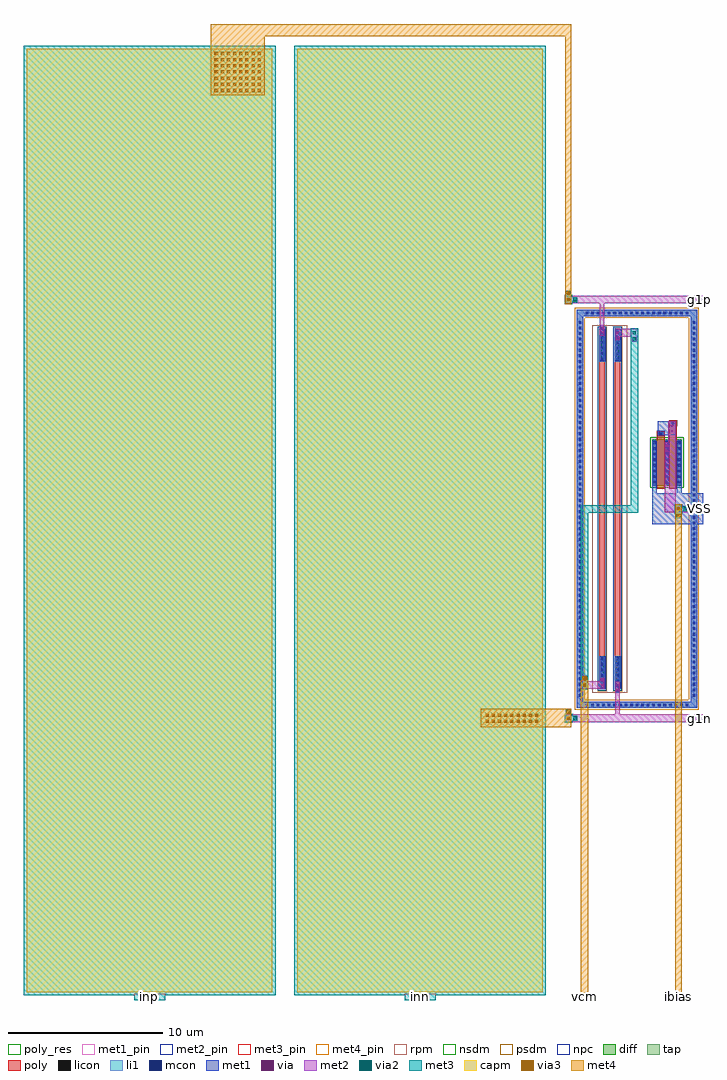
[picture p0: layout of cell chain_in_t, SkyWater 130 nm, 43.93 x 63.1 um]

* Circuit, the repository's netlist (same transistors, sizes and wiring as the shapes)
* chain_in_t: the input section of xschem/lna_chain.sch (Cin, Rb, Mref; values as layout/ref/lna_chain.spice),
* Cin drawn 15.88 x 61 um (chain_in_tall.py)
.subckt chain_in_t inp inn ibias vcm g1p g1n VSS
XMref ibias ibias VSS VSS sky130_fd_pr__nfet_01v8 L=0.5 W=6 nf=2
XCin_p g1p inp sky130_fd_pr__cap_mim_m3_1 W=15.88 L=61
XRb_p g1p vcm VSS sky130_fd_pr__res_high_po_0p35 L=19.1327 mult=1
XCin_n g1n inn sky130_fd_pr__cap_mim_m3_1 W=15.88 L=61
XRb_n g1n vcm VSS sky130_fd_pr__res_high_po_0p35 L=19.1327 mult=1
.ends

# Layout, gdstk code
import gdstk
lib = gdstk.Library(unit=1e-6, precision=1e-09)
def R(c, l, rs):  # rectangles x0, y0, x1, y1
    for r in rs: c.add(gdstk.rectangle(r[:2], r[2:], *l))
def A(c, l, x, y, w, h, nx, ny, dx, dy):  # array of equal rectangles
    R(c, l, [(x+i*dx, y+j*dy, x+i*dx+w, y+j*dy+h) for i in range(nx) for j in range(ny)])
def P(c, l, *ps):  # polygons
    for p in ps: c.add(gdstk.Polygon(p, *l))
diff = (65, 20)
tap = (65, 44)
poly_res = (66, 13)
poly = (66, 20)
licon = (66, 44)
li1 = (67, 20)
mcon = (67, 44)
met1_pin = (68, 16)
met1 = (68, 20)
via = (68, 44)
met2_pin = (69, 16)
met2 = (69, 20)
via2 = (69, 44)
met3_pin = (70, 16)
met3 = (70, 20)
via3 = (70, 44)
met4_pin = (71, 16)
met4 = (71, 20)
rpm = (86, 20)
capm = (89, 44)
nsdm = (93, 44)
psdm = (94, 20)
npc = (95, 20)

res_poly = lib.new_cell('res_poly')
R(res_poly, poly_res, [(-0.175,-9.57,0.175,9.57)])
R(res_poly, poly, [(-0.175,-11.67,0.175,11.67)])
R(res_poly, licon, [(-0.095,-11.59,0.095,-9.59), (-0.095,9.59,0.095,11.59)])
R(res_poly, li1, [(-0.175,-11.67,0.175,-9.51), (-0.175,9.51,0.175,11.67)])
A(res_poly, mcon, -0.085, -11.57, 0.17, 0.17, 1, 6, 0, 0.36)
A(res_poly, mcon, -0.085, 9.605, 0.17, 0.17, 1, 6, 0, 0.36)
R(res_poly, met1, [(-0.125,-11.635,0.125,-9.535), (-0.125,9.535,0.125,11.635)])
R(res_poly, rpm, [(-0.635,-11.87,0.635,11.87)])
R(res_poly, psdm, [(-0.285,-11.78,0.285,11.78)])
R(res_poly, npc, [(-0.27,-11.765,0.27,11.765)])

nfet = lib.new_cell('nfet')
R(nfet, diff, [(0,0,1.9,3)])
R(nfet, poly, [(0.3,-0.2,0.8,3.2), (1.1,-0.2,1.6,3.9), (0.3,3.2,0.8,3.53), (1.1,3.9,1.6,4.23)])
A(nfet, licon, 0.065, 0.155, 0.17, 0.17, 3, 8, 0.8, 0.36)
R(nfet, licon, [(0.465,3.28,0.635,3.45), (1.265,3.98,1.435,4.15)])
A(nfet, li1, 0.065, 0.075, 0.17, 2.85, 3, 1, 0.8, 0)
R(nfet, li1, [(0.385,3.28,0.715,3.45), (1.185,3.98,1.515,4.15)])
A(nfet, mcon, 0.065, 0.155, 0.17, 0.17, 3, 8, 0.8, 0.36)
R(nfet, mcon, [(0.465,3.28,0.635,3.45), (1.265,3.98,1.435,4.15)])
A(nfet, met1, 0.035, 0.095, 0.23, 2.81, 3, 1, 0.8, 0)
R(nfet, met1, [(0.365,3.25,0.735,3.48), (1.165,3.95,1.535,4.18)])
R(nfet, nsdm, [(-0.125,-0.125,2.025,3.125)])
R(nfet, npc, [(0.29,3.19,0.81,3.54), (1.09,3.89,1.61,4.24)])

chain_in_t = lib.new_cell('chain_in_t')
P(chain_in_t, tap, [(36.26,18.88),(36.26,44.22),(36.66,44.22),(36.66,19.28),(43.63,19.28),(43.63,44.22),(36.26,44.22),(36.26,44.62),(44.03,44.62),(44.03,18.88)])
A(chain_in_t, licon, 36.82, 18.995, 0.17, 0.17, 19, 2, 0.36, 25.34)
A(chain_in_t, licon, 36.375, 19.605, 0.17, 0.17, 1, 68, 0, 0.36)
A(chain_in_t, licon, 43.745, 19.605, 0.17, 0.17, 1, 68, 0, 0.36)
P(chain_in_t, li1, [(36.26,18.88),(36.26,44.22),(36.66,44.22),(36.66,19.28),(43.63,19.28),(43.63,44.22),(36.26,44.22),(36.26,44.62),(44.03,44.62),(44.03,18.88)])
A(chain_in_t, mcon, 36.82, 18.995, 0.17, 0.17, 19, 2, 0.36, 25.34)
A(chain_in_t, mcon, 36.375, 19.605, 0.17, 0.17, 1, 68, 0, 0.36)
A(chain_in_t, mcon, 43.745, 19.605, 0.17, 0.17, 1, 68, 0, 0.36)
R(chain_in_t, met1_pin, [(43.93,30.75,44.43,32.75)])
R(chain_in_t, met1, [(38.765,19.885,39.025,20.525), (37.695,20.115,38.095,22.215), (38.695,20.115,39.095,22.215), (37.765,20.205,38.025,20.845), (41.13,30.75,44.43,32.75), (41.13,32.74,41.43,36.155), (42.73,32.74,43.03,36.155), (41.93,35.25,42.23,36.05), (41.495,36.5,42.665,37.43), (37.695,41.285,38.095,43.385), (38.695,41.285,39.095,43.385), (38.765,42.655,39.025,43.295), (37.765,42.975,38.025,43.615)])
P(chain_in_t, met1, [(36.26,18.88),(36.26,44.22),(36.66,44.22),(36.66,19.28),(43.63,19.28),(43.63,44.22),(36.26,44.22),(36.26,44.62),(44.03,44.62),(44.03,18.88)])
R(chain_in_t, via, [(38.82,19.97,38.97,20.12), (37.82,20.29,37.97,20.44), (38.82,20.29,38.97,20.44), (37.82,20.61,37.97,20.76), (42.005,35.415,42.155,35.565), (42.005,35.735,42.155,35.885), (42.34,36.73,42.49,36.88), (42.34,37.05,42.49,37.2), (38.82,42.74,38.97,42.89), (37.82,43.06,37.97,43.21), (38.82,43.06,38.97,43.21), (37.82,43.38,37.97,43.53)])
R(chain_in_t, met2_pin, [(43.93,17.97,44.43,18.47), (43.93,31.55,44.43,31.95), (43.93,45.03,44.43,45.53)])
R(chain_in_t, met2, [(35.46,17.97,44.43,18.47), (38.745,17.97,39.045,20.565), (35.57,18.035,36.25,18.405), (38.765,19.885,39.025,20.525), (36.51,20.115,38.045,20.615), (36.62,20.18,36.9,20.95), (37.765,20.205,38.025,20.845), (41.93,31.55,42.23,36.05), (41.93,31.55,44.43,31.95), (42.165,31.55,42.665,37.43), (42.58,31.55,43.08,31.95), (42.69,31.565,43.37,31.935), (39.84,42.55,40.12,43.32), (38.765,42.655,39.025,43.295), (38.745,42.885,40.23,43.385), (37.745,42.935,38.045,45.53), (37.765,42.975,38.025,43.615), (35.46,45.03,44.43,45.53), (35.57,45.095,36.25,45.465)])
R(chain_in_t, via2, [(35.61,18.12,35.81,18.32), (36.01,18.12,36.21,18.32), (36.66,20.265,36.86,20.465), (36.66,20.665,36.86,20.865), (42.73,31.65,42.93,31.85), (43.13,31.65,43.33,31.85), (39.88,42.635,40.08,42.835), (39.88,43.035,40.08,43.235), (35.61,45.18,35.81,45.38), (36.01,45.18,36.21,45.38)])
R(chain_in_t, met3_pin, [(7.64,0,9.64,0.4), (25.12,0,27.12,0.4)])
R(chain_in_t, met3, [(7.64,0,9.64,0.31), (25.12,0,27.12,0.31), (0.5,0.3,16.78,61.7), (17.98,0.3,34.26,61.7), (35.46,17.92,35.96,18.52), (35.55,18.03,35.87,18.81), (35.545,18.055,36.275,18.385), (36.51,20.065,37.01,32), (36.6,20.175,36.92,20.955), (36.595,20.2,36.925,20.93), (42.67,31.16,42.99,31.94), (42.58,31.45,43.08,32.05), (36.51,31.5,40.23,32), (39.73,31.5,40.23,43.435), (42.665,31.585,43.395,31.915), (39.815,42.57,40.145,43.3), (35.46,44.98,35.96,45.58), (35.55,45.09,35.87,45.87), (35.545,45.115,36.275,45.445)])
A(chain_in_t, via3, 30.36, 17.92, 0.2, 0.2, 9, 2, 0.4, 0.4)
A(chain_in_t, via3, 12.83, 58.7, 0.2, 0.2, 8, 7, 0.4, 0.4)
R(chain_in_t, via3, [(35.61,18.12,35.81,18.32), (35.61,18.52,35.81,18.72), (36.66,20.265,36.86,20.465), (36.66,20.665,36.86,20.865), (42.73,31.25,42.93,31.45), (42.73,31.65,42.93,31.85), (35.61,45.18,35.81,45.38), (35.61,45.58,35.81,45.78)])
R(chain_in_t, met4_pin, [(36.51,0,37.01,0.5), (42.63,0,43.03,0.5)])
R(chain_in_t, met4, [(36.51,0,37.01,20.665), (42.63,0,43.03,32.05), (30.06,17.62,35.91,18.82), (35.545,18.055,35.875,18.785), (36.595,20.2,36.925,20.93), (42.665,31.185,42.995,31.915), (35.51,44.98,35.91,63.1), (35.545,45.115,35.875,45.845), (12.58,58.5,16.08,63.1), (12.58,62.3,35.91,63.1)])
R(chain_in_t, capm, [(0.7,0.5,16.58,61.5), (18.18,0.5,34.06,61.5)])
P(chain_in_t, psdm, [(36.135,18.755),(36.135,44.095),(36.785,44.095),(36.785,19.405),(43.505,19.405),(43.505,44.095),(36.135,44.095),(36.135,44.745),(44.155,44.745),(44.155,18.755)])
chain_in_t.add(gdstk.Reference(res_poly, (37.895,31.75)))
chain_in_t.add(gdstk.Reference(res_poly, (38.895,31.75)))
chain_in_t.add(gdstk.Reference(nfet, (41.13,33.25)))
chain_in_t.add(gdstk.Label('inp', (8.64,0.2), layer=70, texttype=5))
chain_in_t.add(gdstk.Label('inn', (26.12,0.2), layer=70, texttype=5))
chain_in_t.add(gdstk.Label('VSS', (44.18,31.75), layer=68, texttype=5))
chain_in_t.add(gdstk.Label('ibias', (44.18,31.75), layer=69, texttype=5))
chain_in_t.add(gdstk.Label('g1p', (44.18,45.28), layer=69, texttype=5))
chain_in_t.add(gdstk.Label('g1n', (44.18,18.22), layer=69, texttype=5))
chain_in_t.add(gdstk.Label('ibias', (42.83,0.25), layer=71, texttype=5))
chain_in_t.add(gdstk.Label('vcm', (36.76,0.25), layer=71, texttype=5))

lib.write_gds('chain_in_t.gds')
